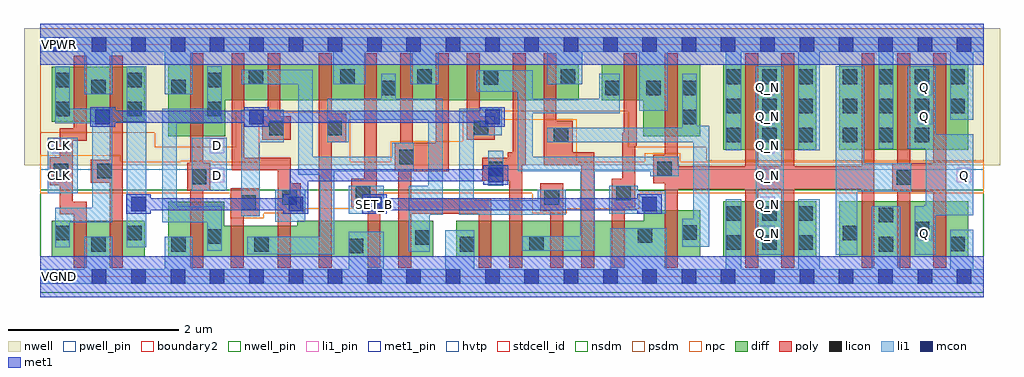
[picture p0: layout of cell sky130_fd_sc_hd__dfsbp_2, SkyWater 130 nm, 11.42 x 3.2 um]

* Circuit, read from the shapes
.subckt sky130_fd_sc_hd__dfsbp_2 CLK D Q Q_N SET_B VGND VNB VPB VPWR
XM1 VGND CLK n1 VNB sky130_fd_pr__nfet_01v8 w=0.42 l=0.15
XM2 n2 n1 VGND VNB sky130_fd_pr__nfet_01v8 w=0.42 l=0.15
XM3 n3 D VGND VNB sky130_fd_pr__nfet_01v8 w=0.64 l=0.15
XM4 n4 n1 n3 VNB sky130_fd_pr__nfet_01v8 w=0.36 l=0.15
XM5 n5 n2 n4 VNB sky130_fd_pr__nfet_01v8 w=0.36 l=0.15
XM6 VGND n6 n5 VNB sky130_fd_pr__nfet_01v8 w=0.42 l=0.15
XM7 n7 SET_B VGND VNB sky130_fd_pr__nfet_01v8 w=0.42 l=0.15
XM8 n6 n4 n7 VNB sky130_fd_pr__nfet_01v8 w=0.42 l=0.15
XM9 n8 n4 VGND VNB sky130_fd_pr__nfet_01v8 w=0.42 l=0.15
XM10 n9 n2 n8 VNB sky130_fd_pr__nfet_01v8 w=0.42 l=0.15
XM11 n10 n1 n9 VNB sky130_fd_pr__nfet_01v8 w=0.42 l=0.15
XM12 n11 n12 n10 VNB sky130_fd_pr__nfet_01v8 w=0.42 l=0.15
XM13 VGND SET_B n11 VNB sky130_fd_pr__nfet_01v8 w=0.42 l=0.15
XM14 n12 n9 VGND VNB sky130_fd_pr__nfet_01v8 w=0.54 l=0.15
XM15 Q_N n9 VGND VNB sky130_fd_pr__nfet_01v8 w=0.65 l=0.15 m=2
XM16 VGND n9 n13 VNB sky130_fd_pr__nfet_01v8 w=0.65 l=0.15
XM17 Q n13 VGND VNB sky130_fd_pr__nfet_01v8 w=0.65 l=0.15 m=2
XM18 VPWR CLK n1 VPB sky130_fd_pr__pfet_01v8_hvt w=0.64 l=0.15
XM19 n2 n1 VPWR VPB sky130_fd_pr__pfet_01v8_hvt w=0.64 l=0.15
XM20 n3 D VPWR VPB sky130_fd_pr__pfet_01v8_hvt w=0.84 l=0.15
XM21 n4 n2 n3 VPB sky130_fd_pr__pfet_01v8_hvt w=0.42 l=0.15
XM22 n14 n1 n4 VPB sky130_fd_pr__pfet_01v8_hvt w=0.42 l=0.15
XM23 VPWR n6 n14 VPB sky130_fd_pr__pfet_01v8_hvt w=0.42 l=0.15
XM24 n6 SET_B VPWR VPB sky130_fd_pr__pfet_01v8_hvt w=0.42 l=0.15
XM25 VPWR n4 n6 VPB sky130_fd_pr__pfet_01v8_hvt w=0.42 l=0.15
XM26 n15 n4 VPWR VPB sky130_fd_pr__pfet_01v8_hvt w=0.42 l=0.15
XM27 n9 n1 n15 VPB sky130_fd_pr__pfet_01v8_hvt w=0.42 l=0.15
XM28 n16 n2 n9 VPB sky130_fd_pr__pfet_01v8_hvt w=0.42 l=0.15
XM29 VPWR n12 n16 VPB sky130_fd_pr__pfet_01v8_hvt w=0.42 l=0.15
XM30 VPWR SET_B n9 VPB sky130_fd_pr__pfet_01v8_hvt w=0.42 l=0.15
XM31 n12 n9 VPWR VPB sky130_fd_pr__pfet_01v8_hvt w=0.84 l=0.15
XM32 Q_N n9 VPWR VPB sky130_fd_pr__pfet_01v8_hvt w=1 l=0.15 m=2
XM33 VPWR n9 n13 VPB sky130_fd_pr__pfet_01v8_hvt w=1 l=0.15
XM34 Q n13 VPWR VPB sky130_fd_pr__pfet_01v8_hvt w=1 l=0.15 m=2
.ends

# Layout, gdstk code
import gdstk
lib = gdstk.Library(unit=1e-6, precision=1e-09)
def R(c, l, rs):  # rectangles x0, y0, x1, y1
    for r in rs: c.add(gdstk.rectangle(r[:2], r[2:], *l))
def A(c, l, x, y, w, h, nx, ny, dx, dy):  # array of equal rectangles
    R(c, l, [(x+i*dx, y+j*dy, x+i*dx+w, y+j*dy+h) for i in range(nx) for j in range(ny)])
def P(c, l, *ps):  # polygons
    for p in ps: c.add(gdstk.Polygon(p, *l))
nwell_pin = (64, 16)
nwell = (64, 20)
diff = (65, 20)
poly = (66, 20)
licon = (66, 44)
li1_pin = (67, 16)
li1 = (67, 20)
mcon = (67, 44)
met1_pin = (68, 16)
met1 = (68, 20)
hvtp = (78, 44)
stdcell_id = (81, 4)
nsdm = (93, 44)
psdm = (94, 20)
npc = (95, 20)
pwell_pin = (122, 16)
boundary2 = (236, 0)

sky130_fd_sc_hd__dfsbp_2 = lib.new_cell('sky130_fd_sc_hd__dfsbp_2')
R(sky130_fd_sc_hd__dfsbp_2, nwell_pin, [(0.145,2.635,0.315,2.805), (0.145,2.635,0.315,2.805), (0.145,2.635,0.315,2.805)])
R(sky130_fd_sc_hd__dfsbp_2, nwell, [(-0.19,1.305,11.23,2.91)])
R(sky130_fd_sc_hd__dfsbp_2, diff, [(0.135,0.235,1.225,0.655), (7.99,0.235,9.08,0.885), (9.35,0.235,10.86,0.885), (7.99,1.485,9.08,2.485), (9.35,1.485,10.86,2.485), (0.135,1.815,1.225,2.455)])
P(sky130_fd_sc_hd__dfsbp_2, diff, [(7.72,2.485),(6.57,2.485),(6.57,2.065),(7.055,2.065),(7.055,1.645),(7.72,1.645)],
  [(6.3,2.485),(1.495,2.485),(1.495,1.645),(2.165,1.645),(2.165,2.065),(6.3,2.065)],
  [(7.72,0.775),(7.06,0.775),(7.06,0.655),(4.87,0.655),(4.87,0.235),(7.72,0.235)],
  [(4.6,0.655),(3.005,0.655),(3.005,0.595),(2.155,0.595),(2.155,0.875),(1.495,0.875),(1.495,0.235),(4.6,0.235)])
P(sky130_fd_sc_hd__dfsbp_2, poly, [(5.68,2.615),(5.53,2.615),(5.53,1.455),(5.47,1.455),(5.47,1.395),(5.17,1.395),(5.17,1.125),(5.49,1.125),(5.49,0.105),(5.64,0.105),(5.64,1.305),(5.68,1.305)],
  [(6.12,1.095),(5.85,1.095),(5.85,0.765),(5.97,0.765),(5.97,0.105),(6.12,0.105)],
  [(6.98,2.615),(6.83,2.615),(6.83,1.685),(6.81,1.685),(6.81,1.145),(6.69,1.145),(6.69,0.105),(6.84,0.105),(6.84,0.815),(6.96,0.815),(6.96,1.535),(6.98,1.535)],
  [(6.48,1.455),(6.23,1.455),(6.23,1.825),(6.04,1.825),(6.04,2.615),(5.89,2.615),(5.89,1.305),(6.33,1.305),(6.33,0.105),(6.48,0.105)],
  [(5.32,1.875),(5.14,1.875),(5.14,2.615),(4.99,2.615),(4.99,1.605),(5.32,1.605)],
  [(5.28,0.915),(4.34,0.915),(4.34,1.235),(4.78,1.235),(4.78,2.615),(4.63,2.615),(4.63,1.565),(4.36,1.565),(4.36,2.615),(4.21,2.615),(4.21,1.565),(4.15,1.565),(4.15,1.235),(4.19,1.235),(4.19,0.105),(4.34,0.105),(4.34,0.735),(5.13,0.735),(5.13,0.105),(5.28,0.105)],
  [(1.99,1.335),(1.905,1.335),(1.905,2.615),(1.755,2.615),(1.755,1.335),(1.72,1.335),(1.72,1.005),(1.755,1.005),(1.755,0.105),(1.905,0.105),(1.905,1.005),(1.99,1.005)],
  [(2.57,1.035),(2.23,1.035),(2.23,0.105),(2.38,0.105),(2.38,0.705),(2.57,0.705)],
  [(2.93,1.875),(2.81,1.875),(2.81,2.615),(2.66,2.615),(2.66,1.875),(2.6,1.875),(2.6,1.605),(2.93,1.605)],
  [(3.05,1.095),(2.93,1.095),(2.93,1.395),(2.39,1.395),(2.39,2.615),(2.24,2.615),(2.24,1.245),(2.78,1.245),(2.78,0.105),(2.93,0.105),(2.93,0.765),(3.05,0.765)],
  [(3.58,1.905),(3.41,1.905),(3.41,2.615),(3.26,2.615),(3.26,0.105),(3.41,0.105),(3.41,1.575),(3.58,1.575)],
  [(0.965,2.585),(0.815,2.585),(0.815,1.37),(0.59,1.37),(0.59,1.1),(0.815,1.1),(0.815,0.105),(0.965,0.105)],
  [(0.545,0.88),(0.38,0.88),(0.38,1.59),(0.545,1.59),(0.545,2.585),(0.395,2.585),(0.395,1.74),(0.23,1.74),(0.23,1.4),(0.11,1.4),(0.11,1.07),(0.23,1.07),(0.23,0.73),(0.395,0.73),(0.395,0.105),(0.545,0.105)],
  [(3.98,0.965),(3.94,0.965),(3.94,2.615),(3.79,2.615),(3.79,1.145),(3.64,1.145),(3.64,0.815),(3.83,0.815),(3.83,0.105),(3.98,0.105)],
  [(9.76,2.615),(9.61,2.615),(9.61,1.295),(8.82,1.295),(8.82,2.615),(8.67,2.615),(8.67,1.295),(8.4,1.295),(8.4,2.615),(8.25,2.615),(8.25,1.295),(7.46,1.295),(7.46,2.615),(7.31,2.615),(7.31,1.425),(7.17,1.425),(7.17,1.095),(7.31,1.095),(7.31,0.105),(7.46,0.105),(7.46,1.025),(8.25,1.025),(8.25,0.105),(8.4,0.105),(8.4,1.025),(8.67,1.025),(8.67,0.105),(8.82,0.105),(8.82,1.025),(9.61,1.025),(9.61,0.105),(9.76,0.105)],
  [(10.6,2.615),(10.45,2.615),(10.45,1.325),(10.18,1.325),(10.18,2.615),(10.03,2.615),(10.03,1.325),(9.97,1.325),(9.97,0.995),(10.03,0.995),(10.03,0.105),(10.18,0.105),(10.18,0.995),(10.45,0.995),(10.45,0.105),(10.6,0.105)])
A(sky130_fd_sc_hd__dfsbp_2, licon, 8.03, 0.315, 0.17, 0.17, 3, 2, 0.42, 0.34)
A(sky130_fd_sc_hd__dfsbp_2, licon, 8.03, 1.575, 0.17, 0.17, 3, 3, 0.42, 0.34)
A(sky130_fd_sc_hd__dfsbp_2, licon, 9.39, 1.575, 0.17, 0.17, 3, 1, 0.42, 0)
A(sky130_fd_sc_hd__dfsbp_2, licon, 9.39, 1.915, 0.17, 0.17, 4, 2, 0.42, 0.34)
R(sky130_fd_sc_hd__dfsbp_2, licon, [(3.61,0.275,3.78,0.445), (0.595,0.295,0.765,0.465), (1.535,0.295,1.705,0.465), (2.505,0.295,2.675,0.465), (4.91,0.295,5.08,0.465), (9.81,0.295,9.98,0.465), (10.65,0.3,10.82,0.47), (5.72,0.305,5.89,0.475), (4.39,0.375,4.56,0.545), (1.955,0.385,2.125,0.555), (6.99,0.395,7.16,0.565), (0.175,0.425,0.345,0.595), (1.015,0.425,1.185,0.595), (9.39,0.425,9.56,0.595), (7.51,0.43,7.68,0.6), (10.23,0.475,10.4,0.645), (9.81,0.635,9.98,0.805), (2.35,0.785,2.52,0.955), (2.83,0.845,3,1.015), (5.9,0.845,6.07,1.015), (3.69,0.895,3.86,1.065), (6.74,0.895,6.91,1.065), (10.02,1.075,10.19,1.245), (1.77,1.085,1.94,1.255), (0.16,1.15,0.33,1.32), (0.67,1.15,0.84,1.32), (5.25,1.175,5.42,1.345), (7.22,1.175,7.39,1.345), (4.2,1.315,4.37,1.485), (6.01,1.575,6.18,1.745), (2.68,1.655,2.85,1.825), (3.36,1.655,3.53,1.825), (5.07,1.655,5.24,1.825), (7.51,1.785,7.68,1.955), (0.175,1.875,0.345,2.045), (1.015,1.875,1.185,2.045), (1.955,1.875,2.125,2.045), (3.99,2.125,4.16,2.295), (6.61,2.125,6.78,2.295), (7.09,2.125,7.26,2.295), (7.51,2.125,7.68,2.295), (0.595,2.135,0.765,2.305), (1.535,2.135,1.705,2.305), (0.175,2.215,0.345,2.385), (1.015,2.215,1.185,2.385), (1.955,2.215,2.125,2.385), (5.19,2.245,5.36,2.415), (2.44,2.25,2.61,2.42), (3.51,2.255,3.68,2.425), (4.41,2.255,4.58,2.425), (6.09,2.255,6.26,2.425)])
A(sky130_fd_sc_hd__dfsbp_2, li1_pin, 8.425, 0.425, 0.17, 0.17, 1, 6, 0, 0.34)
R(sky130_fd_sc_hd__dfsbp_2, li1_pin, [(0.145,-0.085,0.315,0.085), (10.265,0.425,10.435,0.595), (3.825,0.765,3.995,0.935), (0.145,1.105,0.315,1.275), (1.985,1.105,2.155,1.275), (10.725,1.105,10.895,1.275), (0.145,1.445,0.315,1.615), (1.985,1.445,2.155,1.615), (10.265,1.785,10.435,1.955), (10.265,2.125,10.435,2.295), (0.145,2.635,0.315,2.805)])
R(sky130_fd_sc_hd__dfsbp_2, li1, [(8.37,0.255,8.7,2.465), (1.015,0.345,1.24,2.465), (2.75,0.645,3.1,1.015), (3.61,0.735,4.02,1.065), (0.09,0.975,0.44,1.625), (1.77,1.005,2.18,1.625), (5.24,1.065,5.42,1.475)])
P(sky130_fd_sc_hd__dfsbp_2, li1, [(6.15,1.015),(5.82,1.015),(5.82,0.895),(5.07,0.895),(5.07,1.655),(5.4,1.655),(5.4,1.965),(4.9,1.965),(4.9,0.725),(6.15,0.725)],
  [(7.47,1.405),(5.76,1.405),(5.76,1.915),(6.78,1.915),(6.78,2.375),(6.54,2.375),(6.54,2.085),(5.76,2.085),(5.76,2.415),(5.11,2.415),(5.11,2.165),(5.59,2.165),(5.59,1.235),(6.32,1.235),(6.32,0.475),(5.64,0.475),(5.64,0.305),(6.49,0.305),(6.49,1.235),(7.14,1.235),(7.14,1.175),(7.47,1.175)],
  [(7.83,1.765),(7.68,1.765),(7.68,2.375),(7.51,2.375),(7.51,1.745),(5.93,1.745),(5.93,1.575),(7.64,1.575),(7.64,0.68),(7.51,0.68),(7.51,0.35),(7.83,0.35)],
  [(10.915,1.665),(10.48,1.665),(10.48,2.465),(10.15,2.465),(10.15,1.495),(10.36,1.495),(10.36,0.845),(10.345,0.845),(10.345,0.825),(10.23,0.825),(10.23,0.255),(10.48,0.255),(10.48,0.72),(10.915,0.72)],
  [(7.32,1.005),(6.99,1.005),(6.99,1.065),(6.66,1.065),(6.66,0.735),(7.32,0.735)],
  [(2.125,0.825),(1.6,0.825),(1.6,1.795),(2.125,1.795),(2.125,2.465),(1.955,2.465),(1.955,1.965),(1.43,1.965),(1.43,0.635),(1.955,0.635),(1.955,0.305),(2.125,0.305)],
  [(2.85,1.955),(2.35,1.955),(2.35,0.705),(2.57,0.705),(2.57,1.575),(2.85,1.575)],
  [(4.37,1.565),(4.12,1.565),(4.12,1.405),(3.19,1.405),(3.19,2.42),(2.36,2.42),(2.36,2.25),(3.02,2.25),(3.02,1.195),(3.27,1.195),(3.27,0.465),(2.425,0.465),(2.425,0.265),(3.44,0.265),(3.44,1.235),(4.37,1.235)],
  [(4.71,2.085),(4.16,2.085),(4.16,2.375),(3.99,2.375),(3.99,2.085),(3.36,2.085),(3.36,1.575),(3.61,1.575),(3.61,1.835),(4.54,1.835),(4.54,1.065),(4.31,1.065),(4.31,0.295),(4.56,0.295),(4.56,0.725),(4.71,0.725)],
  [(0.84,1.965),(0.345,1.965),(0.345,2.465),(0.175,2.465),(0.175,1.795),(0.61,1.795),(0.61,0.805),(0.175,0.805),(0.175,0.345),(0.345,0.345),(0.345,0.635),(0.84,0.635)],
  [(10.19,1.325),(9.64,1.325),(9.64,2.465),(9.31,2.465),(9.31,0.255),(9.56,0.255),(9.56,0.995),(10.19,0.995)],
  [(11.04,2.805),(0,2.805),(0,2.635),(0.515,2.635),(0.515,2.135),(0.845,2.135),(0.845,2.635),(1.455,2.635),(1.455,2.135),(1.785,2.135),(1.785,2.635),(3.43,2.635),(3.43,2.255),(3.81,2.255),(3.81,2.635),(4.33,2.635),(4.33,2.255),(4.66,2.255),(4.66,2.635),(5.93,2.635),(5.93,2.255),(6.34,2.255),(6.34,2.635),(7.01,2.635),(7.01,1.945),(7.34,1.945),(7.34,2.635),(8.02,2.635),(8.02,1.48),(8.2,1.48),(8.2,2.635),(8.87,2.635),(8.87,1.48),(9.12,1.48),(9.12,2.635),(9.81,2.635),(9.81,1.495),(9.98,1.495),(9.98,2.635),(10.65,2.635),(10.65,1.835),(10.915,1.835),(10.915,2.635),(11.04,2.635)],
  [(11.04,0.085),(10.915,0.085),(10.915,0.55),(10.65,0.55),(10.65,0.085),(10.06,0.085),(10.06,0.825),(9.73,0.825),(9.73,0.085),(9.12,0.085),(9.12,0.905),(8.87,0.905),(8.87,0.085),(8.2,0.085),(8.2,0.905),(8.02,0.905),(8.02,0.085),(7.33,0.085),(7.33,0.565),(6.67,0.565),(6.67,0.085),(5.08,0.085),(5.08,0.545),(4.74,0.545),(4.74,0.085),(4.02,0.085),(4.02,0.525),(3.61,0.525),(3.61,0.085),(1.785,0.085),(1.785,0.465),(1.455,0.465),(1.455,0.085),(0.845,0.085),(0.845,0.465),(0.515,0.465),(0.515,0.085),(0,0.085),(0,-0.085),(11.04,-0.085)])
A(sky130_fd_sc_hd__dfsbp_2, mcon, 0.145, -0.085, 0.17, 0.17, 24, 2, 0.46, 2.72)
R(sky130_fd_sc_hd__dfsbp_2, mcon, [(1.065,0.765,1.235,0.935), (2.905,0.765,3.075,0.935), (3.825,0.765,3.995,0.935), (7.045,0.765,7.215,0.935), (5.245,1.105,5.415,1.275), (0.645,1.785,0.815,1.955), (2.445,1.785,2.615,1.955), (5.205,1.785,5.375,1.955)])
R(sky130_fd_sc_hd__dfsbp_2, met1_pin, [(0.145,-0.085,0.315,0.085), (0.145,-0.085,0.315,0.085), (0.145,2.635,0.315,2.805), (0.145,2.635,0.315,2.805)])
R(sky130_fd_sc_hd__dfsbp_2, met1, [(0,-0.24,11.04,0.24), (0,2.48,11.04,2.96)])
P(sky130_fd_sc_hd__dfsbp_2, met1, [(7.275,0.965),(6.985,0.965),(6.985,0.92),(4.055,0.92),(4.055,0.965),(3.765,0.965),(3.765,0.735),(4.055,0.735),(4.055,0.78),(6.985,0.78),(6.985,0.735),(7.275,0.735)],
  [(5.475,1.305),(5.185,1.305),(5.185,1.26),(2.92,1.26),(2.92,0.965),(2.845,0.965),(2.845,0.92),(1.295,0.92),(1.295,0.965),(1.005,0.965),(1.005,0.735),(1.295,0.735),(1.295,0.78),(2.845,0.78),(2.845,0.735),(3.135,0.735),(3.135,1.12),(5.185,1.12),(5.185,1.075),(5.475,1.075)],
  [(5.435,1.985),(5.145,1.985),(5.145,1.94),(2.675,1.94),(2.675,1.985),(2.385,1.985),(2.385,1.94),(0.875,1.94),(0.875,1.985),(0.585,1.985),(0.585,1.755),(0.875,1.755),(0.875,1.8),(2.385,1.8),(2.385,1.755),(2.675,1.755),(2.675,1.8),(5.145,1.8),(5.145,1.755),(5.435,1.755)])
R(sky130_fd_sc_hd__dfsbp_2, hvtp, [(0,1.25,11.04,2.72)])
R(sky130_fd_sc_hd__dfsbp_2, stdcell_id, [(0,0,11.04,2.72)])
R(sky130_fd_sc_hd__dfsbp_2, nsdm, [(0,-0.19,11.04,1.015)])
P(sky130_fd_sc_hd__dfsbp_2, psdm, [(11.04,2.91),(0,2.91),(0,1.685),(1.34,1.685),(1.34,1.515),(2.295,1.515),(2.295,1.935),(6.88,1.935),(6.88,1.515),(7.795,1.515),(7.795,1.355),(11.04,1.355)])
P(sky130_fd_sc_hd__dfsbp_2, npc, [(11.04,1.345),(7.49,1.345),(7.49,1.445),(7.075,1.445),(7.075,1.345),(6.28,1.345),(6.28,1.845),(5.34,1.845),(5.34,1.925),(4.945,1.925),(4.945,1.585),(4.1,1.585),(4.1,1.345),(3.63,1.345),(3.63,1.925),(2.555,1.925),(2.555,1.345),(2.015,1.345),(2.015,1.355),(1.645,1.355),(1.645,1.345),(0.94,1.345),(0.94,1.42),(0,1.42),(0,0.975),(2.225,0.975),(2.225,0.685),(2.615,0.685),(2.615,0.745),(3.09,0.745),(3.09,0.795),(3.96,0.795),(3.96,0.975),(5.755,0.975),(5.755,0.745),(6.16,0.745),(6.16,0.795),(7.01,0.795),(7.01,0.975),(11.04,0.975)])
R(sky130_fd_sc_hd__dfsbp_2, pwell_pin, [(0.145,-0.085,0.315,0.085), (0.145,-0.085,0.315,0.085), (0.145,-0.085,0.315,0.085)])
R(sky130_fd_sc_hd__dfsbp_2, boundary2, [(0,0,11.04,2.72)])
sky130_fd_sc_hd__dfsbp_2.add(gdstk.Label('Q', (10.81,1.19), layer=67, texttype=5))
sky130_fd_sc_hd__dfsbp_2.add(gdstk.Label('Q_N', (8.51,0.51), layer=67, texttype=5))
sky130_fd_sc_hd__dfsbp_2.add(gdstk.Label('Q_N', (8.51,0.85), layer=67, texttype=5))
sky130_fd_sc_hd__dfsbp_2.add(gdstk.Label('Q_N', (8.51,1.19), layer=67, texttype=5))
sky130_fd_sc_hd__dfsbp_2.add(gdstk.Label('Q_N', (8.51,1.53), layer=67, texttype=5))
sky130_fd_sc_hd__dfsbp_2.add(gdstk.Label('Q_N', (8.51,1.87), layer=67, texttype=5))
sky130_fd_sc_hd__dfsbp_2.add(gdstk.Label('Q_N', (8.51,2.21), layer=67, texttype=5))
sky130_fd_sc_hd__dfsbp_2.add(gdstk.Label('D', (2.07,1.53), layer=67, texttype=5))
sky130_fd_sc_hd__dfsbp_2.add(gdstk.Label('D', (2.07,1.19), layer=67, texttype=5))
sky130_fd_sc_hd__dfsbp_2.add(gdstk.Label('VPWR', (0.23,2.72), layer=67, texttype=5))
sky130_fd_sc_hd__dfsbp_2.add(gdstk.Label('Q', (10.35,2.21), layer=67, texttype=5))
sky130_fd_sc_hd__dfsbp_2.add(gdstk.Label('Q', (10.35,1.87), layer=67, texttype=5))
sky130_fd_sc_hd__dfsbp_2.add(gdstk.Label('Q', (10.35,0.51), layer=67, texttype=5))
sky130_fd_sc_hd__dfsbp_2.add(gdstk.Label('SET_B', (3.91,0.85), layer=67, texttype=5))
sky130_fd_sc_hd__dfsbp_2.add(gdstk.Label('CLK', (0.23,1.53), layer=67, texttype=5))
sky130_fd_sc_hd__dfsbp_2.add(gdstk.Label('CLK', (0.23,1.19), layer=67, texttype=5))
sky130_fd_sc_hd__dfsbp_2.add(gdstk.Label('VGND', (0.23,0), layer=67, texttype=5))
sky130_fd_sc_hd__dfsbp_2.add(gdstk.Label('VPB', (0.23,2.72), layer=64, texttype=5))
sky130_fd_sc_hd__dfsbp_2.add(gdstk.Label('VPB', (0.23,2.72), layer=64, texttype=5))
sky130_fd_sc_hd__dfsbp_2.add(gdstk.Label('VPB', (0.23,2.72), layer=64, texttype=5))
sky130_fd_sc_hd__dfsbp_2.add(gdstk.Label('VNB', (0.23,0), layer=64, texttype=59))
sky130_fd_sc_hd__dfsbp_2.add(gdstk.Label('VNB', (0.23,0), layer=64, texttype=59))
sky130_fd_sc_hd__dfsbp_2.add(gdstk.Label('VNB', (0.23,0), layer=64, texttype=59))
sky130_fd_sc_hd__dfsbp_2.add(gdstk.Label('VGND', (0.23,0), layer=68, texttype=5))
sky130_fd_sc_hd__dfsbp_2.add(gdstk.Label('VPWR', (0.23,2.72), layer=68, texttype=5))
sky130_fd_sc_hd__dfsbp_2.add(gdstk.Label('VPWR', (0.23,2.72), layer=68, texttype=5))
sky130_fd_sc_hd__dfsbp_2.add(gdstk.Label('VGND', (0.23,0), layer=68, texttype=5))
sky130_fd_sc_hd__dfsbp_2.add(gdstk.Label('dfsbp_2', (0,0), layer=83, texttype=44))

lib.write_gds('sky130_fd_sc_hd__dfsbp_2.gds')
